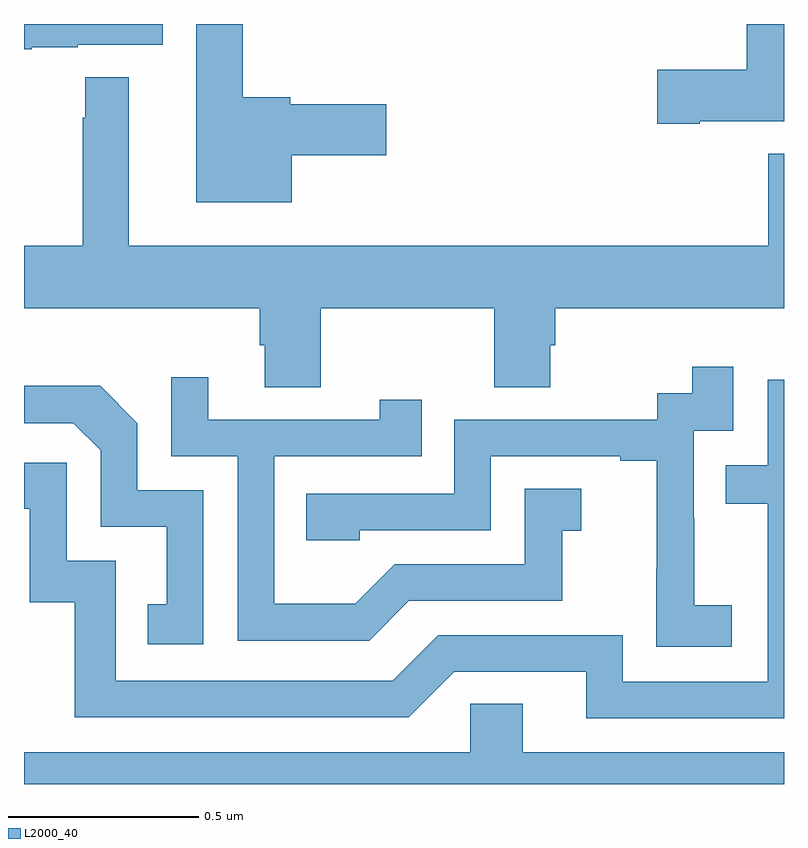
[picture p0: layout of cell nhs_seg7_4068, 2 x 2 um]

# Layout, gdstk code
import gdstk
lib = gdstk.Library(unit=1e-6, precision=1e-09)
def P(c, l, *ps):  # polygons
    for p in ps: c.add(gdstk.Polygon(p, *l))
L2000_40 = (2000, 40)

nhs_seg7_4068 = lib.new_cell('nhs_seg7_4068')
P(nhs_seg7_4068, L2000_40, [(167.02,1031.939),(167.142,1031.939),(167.142,1031.945),(167.365,1031.945),(167.365,1032),(167,1032),(167,1031.933),(167.02,1031.933)],
  [(168.778,1031.744),(169,1031.744),(169,1032),(168.902,1032),(168.902,1031.879),(168.666,1031.879),(168.666,1031.737),(168.778,1031.737)],
  [(167.704,1031.654),(167.953,1031.654),(167.953,1031.789),(167.7,1031.789),(167.7,1031.807),(167.575,1031.807),(167.575,1032),(167.453,1032),(167.453,1031.531),(167.704,1031.531)],
  [(167.781,1031.252),(168.238,1031.252),(168.238,1031.044),(168.385,1031.044),(168.385,1031.154),(168.398,1031.154),(168.398,1031.252),(169,1031.252),(169,1031.659),(168.959,1031.659),(168.959,1031.416),(167.275,1031.416),(167.275,1031.86),(167.161,1031.86),(167.161,1031.753),(167.154,1031.753),(167.154,1031.416),(167,1031.416),(167,1031.252),(167.621,1031.252),(167.621,1031.154),(167.633,1031.154),(167.633,1031.044),(167.781,1031.044)],
  [(168.862,1030.471),(168.764,1030.471),(168.764,1030.7),(168.762,1030.7),(168.762,1030.929),(168.867,1030.929),(168.867,1031.098),(168.759,1031.098),(168.759,1031.028),(168.666,1031.028),(168.666,1030.959),(168.132,1030.959),(168.132,1030.764),(167.743,1030.764),(167.743,1030.641),(167.883,1030.641),(167.883,1030.668),(168.228,1030.668),(168.228,1030.863),(168.569,1030.863),(168.569,1030.851),(168.665,1030.851),(168.665,1030.567),(168.664,1030.567),(168.664,1030.361),(168.862,1030.361)],
  [(168.013,1030.482),(168.417,1030.482),(168.417,1030.667),(168.466,1030.667),(168.466,1030.777),(168.318,1030.777),(168.318,1030.578),(167.976,1030.578),(167.872,1030.474),(167.658,1030.474),(167.658,1030.863),(168.047,1030.863),(168.047,1031.011),(167.936,1031.011),(167.936,1030.959),(167.485,1030.959),(167.485,1031.071),(167.388,1031.071),(167.388,1030.863),(167.562,1030.863),(167.562,1030.377),(167.908,1030.377)],
  [(169,1031.064),(168.957,1031.064),(168.957,1030.839),(168.847,1030.839),(168.847,1030.738),(168.957,1030.738),(168.957,1030.269),(168.576,1030.269),(168.576,1030.392),(168.09,1030.392),(167.97,1030.272),(167.241,1030.272),(167.241,1030.587),(167.112,1030.587),(167.112,1030.846),(167,1030.846),(167,1030.725),(167.015,1030.725),(167.015,1030.478),(167.133,1030.478),(167.133,1030.176),(168.012,1030.176),(168.132,1030.296),(168.479,1030.296),(168.479,1030.173),(169,1030.173)],
  [(167.472,1030.773),(167.298,1030.773),(167.298,1030.95),(167.2,1031.048),(167,1031.048),(167,1030.95),(167.13,1030.95),(167.202,1030.878),(167.202,1030.677),(167.375,1030.677),(167.375,1030.473),(167.326,1030.473),(167.326,1030.368),(167.472,1030.368)],
  [(169,1030.084),(168.313,1030.084),(168.313,1030.211),(168.174,1030.211),(168.174,1030.084),(167,1030.084),(167,1030),(169,1030)])

lib.write_gds('nhs_seg7_4068.gds')
